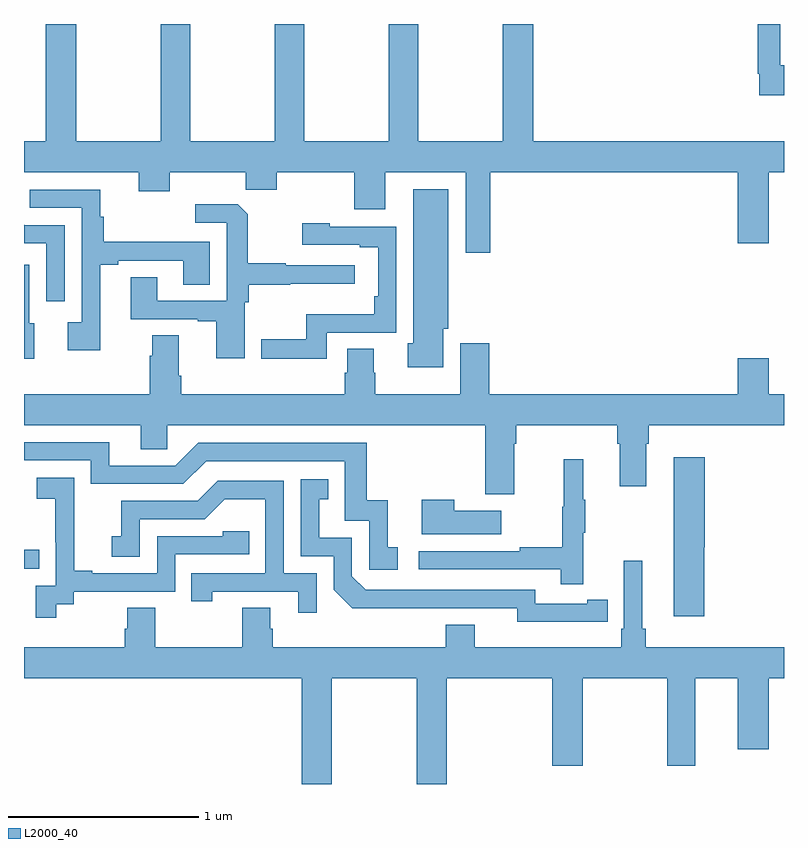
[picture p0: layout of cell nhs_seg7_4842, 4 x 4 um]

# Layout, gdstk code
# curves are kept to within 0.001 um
import gdstk
lib = gdstk.Library(unit=1e-6, precision=1e-09)
def R(c, l, rs):  # rectangles x0, y0, x1, y1
    for r in rs: c.add(gdstk.rectangle(r[:2], r[2:], *l))
def P(c, l, *ps):  # polygons
    for p in ps: c.add(gdstk.Polygon(p, *l))
L2000_40 = (2000, 40)

nhs_seg7_4842 = lib.new_cell('nhs_seg7_4842')
R(nhs_seg7_4842, L2000_40, [(413,1061.133,413.081,1061.234)])
P(nhs_seg7_4842, L2000_40, [(415.454,1063.22),(416.756,1063.22),(416.756,1062.846),(416.92,1062.846),(416.92,1063.22),(417,1063.22),(417,1063.384),(415.679,1063.384),(415.679,1064),(415.519,1064),(415.519,1063.384),(415.074,1063.384),(415.074,1064),(414.919,1064),(414.919,1063.384),(414.474,1063.384),(414.474,1064),(414.319,1064),(414.319,1063.384),(413.874,1063.384),(413.874,1064),(413.719,1064),(413.719,1063.384),(413.274,1063.384),(413.274,1064),(413.114,1064),(413.114,1063.384),(413,1063.384),(413,1063.22),(413.603,1063.22),(413.603,1063.121),(413.767,1063.121),(413.767,1063.22),(414.167,1063.22),(414.167,1063.127),(414.331,1063.127),(414.331,1063.22),(414.737,1063.22),(414.737,1063.026),(414.901,1063.026),(414.901,1063.22),(415.325,1063.22),(415.325,1062.795),(415.454,1062.795)],
  [(417,1063.782),(416.979,1063.782),(416.979,1064),(416.863,1064),(416.863,1063.738),(416.871,1063.738),(416.871,1063.626),(417,1063.626)],
  [(415.207,1062.396),(415.234,1062.396),(415.234,1063.129),(415.049,1063.129),(415.049,1062.32),(415.019,1062.32),(415.019,1062.194),(415.207,1062.194)],
  [(413.401,1062.733),(413.497,1062.733),(413.497,1062.753),(413.837,1062.753),(413.837,1062.628),(413.977,1062.628),(413.977,1062.854),(413.42,1062.854),(413.42,1062.986),(413.402,1062.986),(413.402,1063.128),(413.031,1063.128),(413.031,1063.032),(413.304,1063.032),(413.304,1062.43),(413.229,1062.43),(413.229,1062.282),(413.401,1062.282)],
  [(414.162,1062.536),(414.182,1062.536),(414.182,1062.628),(414.401,1062.628),(414.401,1062.632),(414.742,1062.632),(414.742,1062.729),(414.377,1062.729),(414.377,1062.742),(414.177,1062.742),(414.177,1062.999),(414.125,1063.051),(413.901,1063.051),(413.901,1062.954),(414.066,1062.954),(414.066,1062.543),(413.701,1062.543),(413.701,1062.668),(413.561,1062.668),(413.561,1062.447),(413.915,1062.447),(413.915,1062.435),(414.011,1062.435),(414.011,1062.24),(414.162,1062.24)],
  [(414.594,1062.375),(414.96,1062.375),(414.96,1062.933),(414.609,1062.933),(414.609,1062.952),(414.465,1062.952),(414.465,1062.837),(414.767,1062.837),(414.767,1062.825),(414.864,1062.825),(414.864,1062.568),(414.844,1062.568),(414.844,1062.472),(414.486,1062.472),(414.486,1062.341),(414.249,1062.341),(414.249,1062.239),(414.594,1062.239)],
  [(413.214,1062.942),(413.001,1062.942),(413,1062.943),(413,1062.846),(413.118,1062.846),(413.118,1062.54),(413.214,1062.54)],
  [(413.053,1062.426),(413.028,1062.426),(413.028,1062.732),(413,1062.732),(413,1062.239),(413.053,1062.239)],
  [(415.579,1061.792),(415.592,1061.792),(415.592,1061.888),(416.123,1061.888),(416.123,1061.792),(416.135,1061.792),(416.135,1061.568),(416.275,1061.568),(416.275,1061.792),(416.288,1061.792),(416.288,1061.888),(417,1061.888),(417,1062.052),(416.92,1062.052),(416.92,1062.241),(416.756,1062.241),(416.756,1062.052),(415.448,1062.052),(415.448,1062.319),(415.295,1062.319),(415.295,1062.052),(414.849,1062.052),(414.849,1062.165),(414.841,1062.165),(414.841,1062.29),(414.701,1062.29),(414.701,1062.165),(414.689,1062.165),(414.689,1062.052),(413.828,1062.052),(413.828,1062.148),(413.815,1062.148),(413.815,1062.362),(413.675,1062.362),(413.675,1062.254),(413.663,1062.254),(413.663,1062.052),(413,1062.052),(413,1061.888),(413.615,1061.888),(413.615,1061.761),(413.754,1061.761),(413.754,1061.888),(415.427,1061.888),(415.427,1061.526),(415.579,1061.526)],
  [(414.967,1061.247),(414.914,1061.247),(414.914,1061.494),(414.803,1061.494),(414.803,1061.796),(413.916,1061.796),(413.796,1061.676),(413.449,1061.676),(413.449,1061.799),(413,1061.799),(413,1061.703),(413.352,1061.703),(413.352,1061.58),(413.838,1061.58),(413.958,1061.7),(414.687,1061.7),(414.687,1061.385),(414.816,1061.385),(414.816,1061.127),(414.967,1061.127)],
  [(416.579,1061.247),(416.584,1061.247),(416.584,1061.719),(416.42,1061.719),(416.42,1060.884),(416.579,1060.884)],
  [(415.943,1061.323),(415.954,1061.323),(415.954,1061.497),(415.943,1061.497),(415.943,1061.71),(415.84,1061.71),(415.84,1061.46),(415.833,1061.46),(415.833,1061.246),(415.609,1061.246),(415.609,1061.226),(415.077,1061.226),(415.077,1061.13),(415.825,1061.13),(415.825,1061.052),(415.943,1061.052)],
  [(413.17,1060.945),(413.262,1060.945),(413.262,1061.013),(413.796,1061.013),(413.796,1061.208),(414.185,1061.208),(414.185,1061.331),(414.045,1061.331),(414.045,1061.304),(413.7,1061.304),(413.7,1061.109),(413.359,1061.109),(413.359,1061.122),(413.264,1061.122),(413.264,1061.405),(413.265,1061.405),(413.265,1061.611),(413.067,1061.611),(413.067,1061.501),(413.165,1061.501),(413.165,1061.273),(413.166,1061.273),(413.166,1061.043),(413.061,1061.043),(413.061,1060.875),(413.17,1060.875)],
  [(415.964,1060.854),(416.072,1060.854),(416.072,1060.97),(415.964,1060.97),(415.964,1060.95),(415.692,1060.95),(415.692,1061.022),(414.798,1061.022),(414.726,1061.094),(414.726,1061.295),(414.553,1061.295),(414.553,1061.499),(414.602,1061.499),(414.602,1061.605),(414.456,1061.605),(414.456,1061.199),(414.63,1061.199),(414.63,1061.022),(414.728,1060.925),(415.596,1060.926),(415.596,1060.853)],
  [(414.54,1061.109),(414.366,1061.109),(414.366,1061.595),(414.02,1061.595),(413.915,1061.49),(413.512,1061.49),(413.512,1061.305),(413.463,1061.305),(413.463,1061.196),(413.61,1061.196),(413.61,1061.394),(413.952,1061.394),(414.056,1061.498),(414.27,1061.498),(414.27,1061.109),(413.881,1061.109),(413.881,1060.962),(413.992,1060.962),(413.992,1061.013),(414.443,1061.013),(414.443,1060.902),(414.54,1060.902)],
  [(415.513,1061.437),(415.265,1061.437),(415.265,1061.497),(415.094,1061.497),(415.094,1061.315),(415.513,1061.315)],
  [(414.621,1060.556),(415.066,1060.556),(415.066,1060),(415.226,1060),(415.226,1060.556),(415.781,1060.556),(415.781,1060.095),(415.941,1060.095),(415.941,1060.556),(416.386,1060.556),(416.386,1060.095),(416.533,1060.095),(416.533,1060.556),(416.756,1060.556),(416.756,1060.182),(416.92,1060.182),(416.92,1060.556),(417,1060.556),(417,1060.72),(416.273,1060.72),(416.273,1060.816),(416.254,1060.816),(416.254,1061.176),(416.157,1061.176),(416.157,1060.816),(416.144,1060.816),(416.144,1060.72),(415.372,1060.72),(415.372,1060.837),(415.22,1060.837),(415.22,1060.72),(414.308,1060.72),(414.308,1060.818),(414.295,1060.818),(414.295,1060.928),(414.148,1060.928),(414.148,1060.72),(413.691,1060.72),(413.691,1060.928),(413.543,1060.928),(413.543,1060.818),(413.531,1060.818),(413.531,1060.72),(413,1060.72),(413,1060.556),(414.461,1060.556),(414.461,1060),(414.621,1060)])

lib.write_gds('nhs_seg7_4842.gds')
